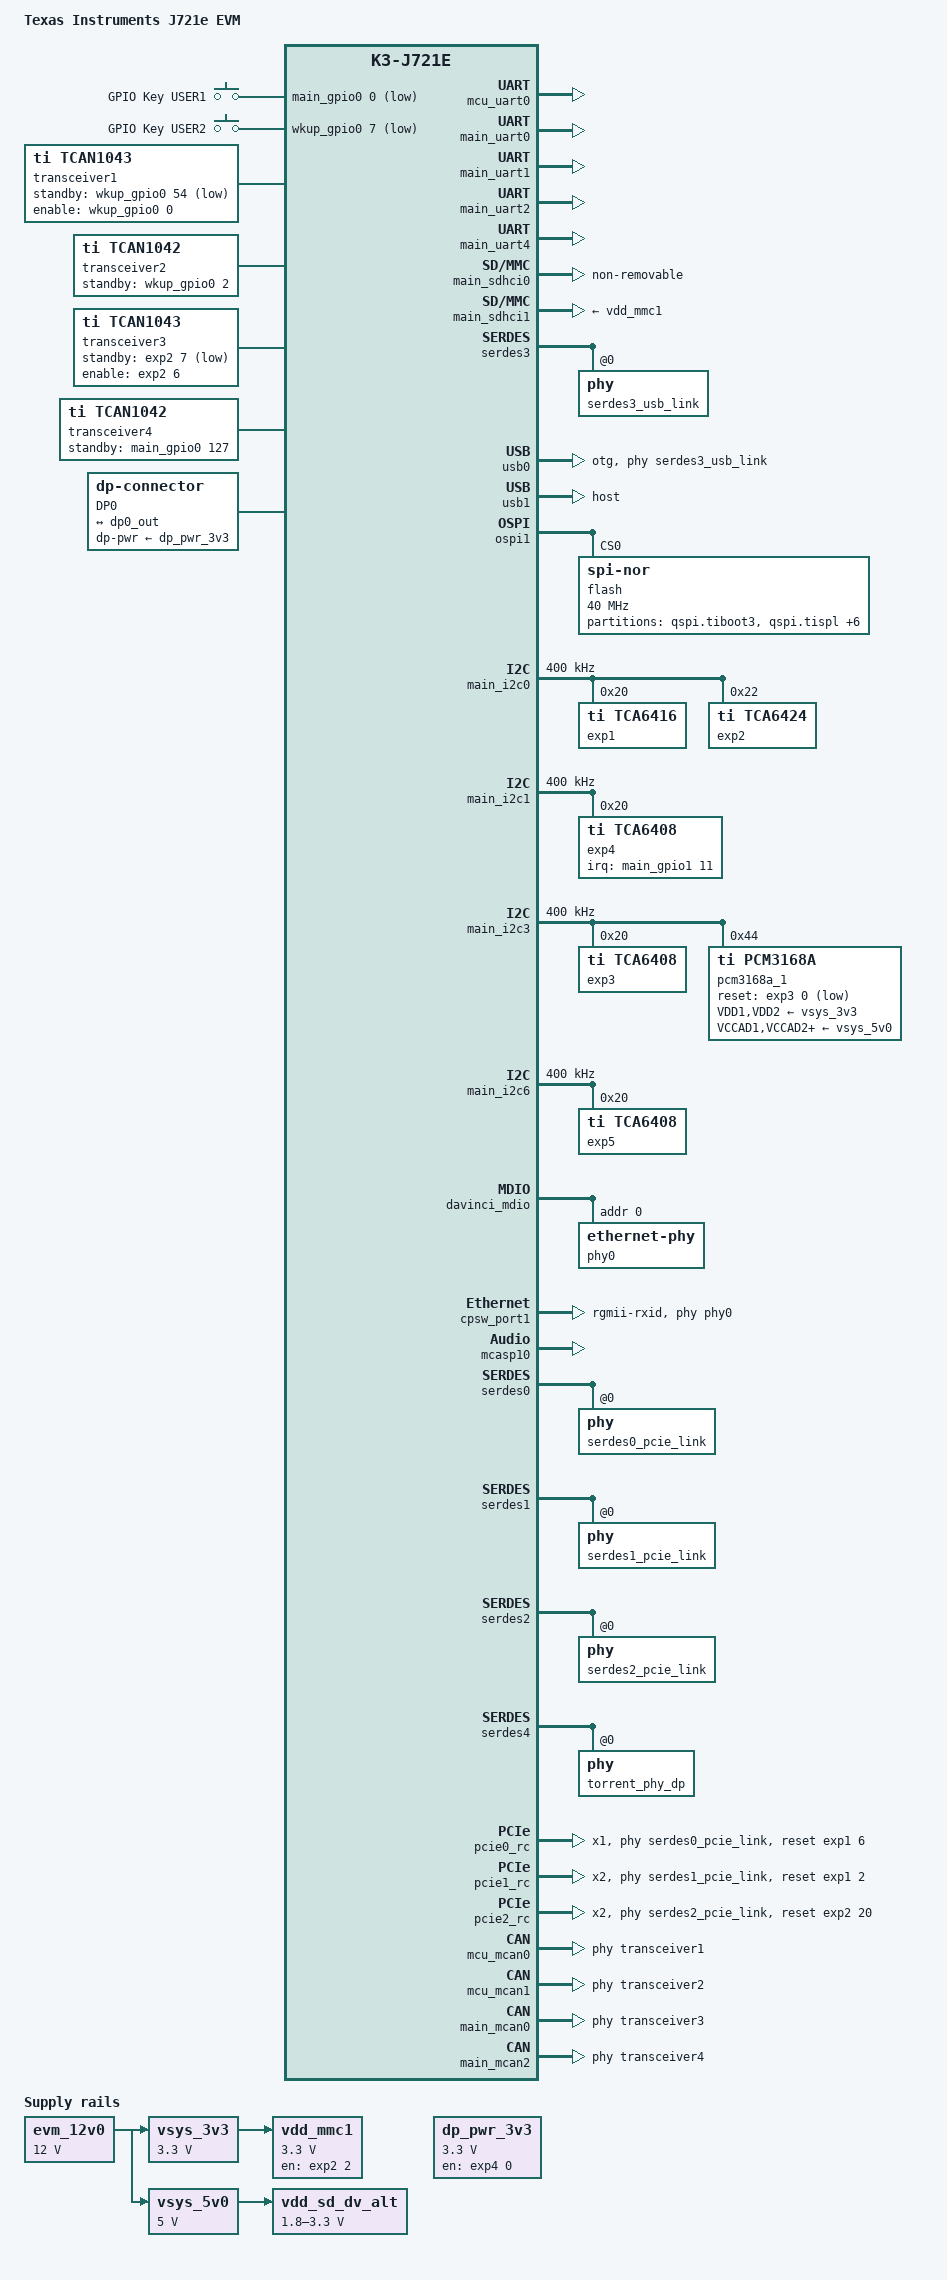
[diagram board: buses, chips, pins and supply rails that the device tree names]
// SPDX-License-Identifier: GPL-2.0
/*
 * Copyright (C) 2019 Texas Instruments Incorporated - https://www.ti.com/
 *
 * Product Link: https://www.ti.com/tool/J721EXCPXEVM
 */

/dts-v1/;

#include "k3-j721e-som-p0.dtsi"
#include <dt-bindings/gpio/gpio.h>
#include <dt-bindings/input/input.h>
#include <dt-bindings/net/ti-dp83867.h>
#include <dt-bindings/phy/phy-cadence.h>

/ {
	compatible = "ti,j721e-evm", "ti,j721e";
	model = "Texas Instruments J721e EVM";

	aliases {
		serial0 = &wkup_uart0;
		serial1 = &mcu_uart0;
		serial2 = &main_uart0;
		serial3 = &main_uart1;
		serial4 = &main_uart2;
		serial6 = &main_uart4;
		ethernet0 = &cpsw_port1;
		mmc0 = &main_sdhci0;
		mmc1 = &main_sdhci1;
	};

	chosen {
		stdout-path = "serial2:115200n8";
	};

	gpio_keys: gpio-keys {
		compatible = "gpio-keys";
		autorepeat;
		pinctrl-names = "default";
		pinctrl-0 = <&sw10_button_pins_default>, <&sw11_button_pins_default>;

		sw10: switch-10 {
			label = "GPIO Key USER1";
			linux,code = <BTN_0>;
			gpios = <&main_gpio0 0 GPIO_ACTIVE_LOW>;
		};

		sw11: switch-11 {
			label = "GPIO Key USER2";
			linux,code = <BTN_1>;
			gpios = <&wkup_gpio0 7 GPIO_ACTIVE_LOW>;
		};
	};

	evm_12v0: fixedregulator-evm12v0 {
		/* main supply */
		compatible = "regulator-fixed";
		regulator-name = "evm_12v0";
		regulator-min-microvolt = <12000000>;
		regulator-max-microvolt = <12000000>;
		regulator-always-on;
		regulator-boot-on;
	};

	vsys_3v3: fixedregulator-vsys3v3 {
		/* Output of LMS140 */
		compatible = "regulator-fixed";
		regulator-name = "vsys_3v3";
		regulator-min-microvolt = <3300000>;
		regulator-max-microvolt = <3300000>;
		vin-supply = <&evm_12v0>;
		regulator-always-on;
		regulator-boot-on;
	};

	vsys_5v0: fixedregulator-vsys5v0 {
		/* Output of LM5140 */
		compatible = "regulator-fixed";
		regulator-name = "vsys_5v0";
		regulator-min-microvolt = <5000000>;
		regulator-max-microvolt = <5000000>;
		vin-supply = <&evm_12v0>;
		regulator-always-on;
		regulator-boot-on;
	};

	vdd_mmc1: fixedregulator-sd {
		compatible = "regulator-fixed";
		regulator-name = "vdd_mmc1";
		regulator-min-microvolt = <3300000>;
		regulator-max-microvolt = <3300000>;
		regulator-boot-on;
		enable-active-high;
		vin-supply = <&vsys_3v3>;
		gpio = <&exp2 2 GPIO_ACTIVE_HIGH>;
	};

	vdd_sd_dv_alt: gpio-regulator-TLV71033 {
		compatible = "regulator-gpio";
		pinctrl-names = "default";
		pinctrl-0 = <&vdd_sd_dv_alt_pins_default>;
		regulator-name = "tlv71033";
		regulator-min-microvolt = <1800000>;
		regulator-max-microvolt = <3300000>;
		regulator-boot-on;
		vin-supply = <&vsys_5v0>;
		gpios = <&main_gpio0 117 GPIO_ACTIVE_HIGH>;
		states = <1800000 0x0>,
			 <3300000 0x1>;
	};

	sound0: sound-0 {
		compatible = "ti,j721e-cpb-audio";
		model = "j721e-cpb";

		ti,cpb-mcasp = <&mcasp10>;
		ti,cpb-codec = <&pcm3168a_1>;

		clocks = <&k3_clks 184 1>,
			 <&k3_clks 184 2>, <&k3_clks 184 4>,
			 <&k3_clks 157 371>,
			 <&k3_clks 157 400>, <&k3_clks 157 401>;
		clock-names = "cpb-mcasp-auxclk",
			      "cpb-mcasp-auxclk-48000", "cpb-mcasp-auxclk-44100",
			      "cpb-codec-scki",
			      "cpb-codec-scki-48000", "cpb-codec-scki-44100";
	};

	transceiver1: can-phy0 {
		compatible = "ti,tcan1043";
		#phy-cells = <0>;
		max-bitrate = <5000000>;
		pinctrl-names = "default";
		pinctrl-0 = <&mcu_mcan0_gpio_pins_default>;
		standby-gpios = <&wkup_gpio0 54 GPIO_ACTIVE_LOW>;
		enable-gpios = <&wkup_gpio0 0 GPIO_ACTIVE_HIGH>;
	};

	transceiver2: can-phy1 {
		compatible = "ti,tcan1042";
		#phy-cells = <0>;
		max-bitrate = <5000000>;
		pinctrl-names = "default";
		pinctrl-0 = <&mcu_mcan1_gpio_pins_default>;
		standby-gpios = <&wkup_gpio0 2 GPIO_ACTIVE_HIGH>;
	};

	transceiver3: can-phy2 {
		compatible = "ti,tcan1043";
		#phy-cells = <0>;
		max-bitrate = <5000000>;
		standby-gpios = <&exp2 7 GPIO_ACTIVE_LOW>;
		enable-gpios = <&exp2 6 GPIO_ACTIVE_HIGH>;
	};

	transceiver4: can-phy3 {
		compatible = "ti,tcan1042";
		#phy-cells = <0>;
		max-bitrate = <5000000>;
		pinctrl-names = "default";
		pinctrl-0 = <&main_mcan2_gpio_pins_default>;
		standby-gpios = <&main_gpio0 127 GPIO_ACTIVE_HIGH>;
	};

	dp_pwr_3v3: regulator-dp-pwr {
		compatible = "regulator-fixed";
		regulator-name = "dp-pwr";
		regulator-min-microvolt = <3300000>;
		regulator-max-microvolt = <3300000>;
		gpio = <&exp4 0 GPIO_ACTIVE_HIGH>; /* P0 - DP0_PWR_SW_EN */
		enable-active-high;
	};

	dp0: connector {
		compatible = "dp-connector";
		label = "DP0";
		type = "full-size";
		dp-pwr-supply = <&dp_pwr_3v3>;

		port {
			dp_connector_in: endpoint {
				remote-endpoint = <&dp0_out>;
			};
		};
	};
};

&main_pmx0 {
	main_uart0_pins_default: main-uart0-default-pins {
		pinctrl-single,pins = <
			J721E_IOPAD(0x1d4, PIN_INPUT, 1) /* (Y3) SPI1_CS0.UART0_CTSn */
			J721E_IOPAD(0x1c0, PIN_OUTPUT, 1) /* (AA2) SPI0_CS0.UART0_RTSn */
			J721E_IOPAD(0x1e8, PIN_INPUT, 0) /* (AB2) UART0_RXD */
			J721E_IOPAD(0x1ec, PIN_OUTPUT, 0) /* (AB3) UART0_TXD */
		>;
	};

	main_uart1_pins_default: main-uart1-default-pins {
		pinctrl-single,pins = <
			J721E_IOPAD(0x1f8, PIN_INPUT, 0) /* (AA4) UART1_RXD */
			J721E_IOPAD(0x1fc, PIN_OUTPUT, 0) /* (AB4) UART1_TXD */
		>;
	};

	main_uart2_pins_default: main-uart2-default-pins {
		pinctrl-single,pins = <
			J721E_IOPAD(0x1dc, PIN_INPUT, 3) /* (Y1) SPI1_CLK.UART2_RXD */
			J721E_IOPAD(0x1e0, PIN_OUTPUT, 3) /* (Y5) SPI1_D0.UART2_TXD */
		>;
	};

	main_uart4_pins_default: main-uart4-default-pins {
		pinctrl-single,pins = <
			J721E_IOPAD(0x190, PIN_INPUT, 1) /* (W23) RGMII6_TD3.UART4_RXD */
			J721E_IOPAD(0x194, PIN_OUTPUT, 1) /* (W28) RGMII6_TD2.UART4_TXD */
		>;
	};

	sw10_button_pins_default: sw10-button-default-pins {
		pinctrl-single,pins = <
			J721E_IOPAD(0x0, PIN_INPUT, 7) /* (AC18) EXTINTn.GPIO0_0 */
		>;
	};

	main_mmc1_pins_default: main-mmc1-default-pins {
		pinctrl-single,pins = <
			J721E_IOPAD(0x254, PIN_INPUT, 0) /* (R29) MMC1_CMD */
			J721E_IOPAD(0x250, PIN_INPUT, 0) /* (P25) MMC1_CLK */
			J721E_IOPAD(0x2ac, PIN_INPUT, 0) /* (P25) MMC1_CLKLB */
			J721E_IOPAD(0x24c, PIN_INPUT, 0) /* (R24) MMC1_DAT0 */
			J721E_IOPAD(0x248, PIN_INPUT, 0) /* (P24) MMC1_DAT1 */
			J721E_IOPAD(0x244, PIN_INPUT, 0) /* (R25) MMC1_DAT2 */
			J721E_IOPAD(0x240, PIN_INPUT, 0) /* (R26) MMC1_DAT3 */
			J721E_IOPAD(0x258, PIN_INPUT, 0) /* (P23) MMC1_SDCD */
			J721E_IOPAD(0x25c, PIN_INPUT, 0) /* (R28) MMC1_SDWP */
		>;
	};

	vdd_sd_dv_alt_pins_default: vdd-sd-dv-alt-default-pins {
		pinctrl-single,pins = <
			J721E_IOPAD(0x1d8, PIN_INPUT, 7) /* (W4) SPI1_CS1.GPIO0_117 */
		>;
	};

	main_usbss0_pins_default: main-usbss0-default-pins {
		pinctrl-single,pins = <
			J721E_IOPAD(0x290, PIN_OUTPUT, 0) /* (U6) USB0_DRVVBUS */
			J721E_IOPAD(0x210, PIN_INPUT, 7) /* (W3) MCAN1_RX.GPIO1_3 */
		>;
	};

	main_usbss1_pins_default: main-usbss1-default-pins {
		pinctrl-single,pins = <
			J721E_IOPAD(0x214, PIN_OUTPUT, 4) /* (V4) MCAN1_TX.USB1_DRVVBUS */
		>;
	};

	dp0_pins_default: dp0-default-pins {
		pinctrl-single,pins = <
			J721E_IOPAD(0x1c4, PIN_INPUT, 5) /* SPI0_CS1.DP0_HPD */
		>;
	};

	main_i2c1_exp4_pins_default: main-i2c1-exp4-default-pins {
		pinctrl-single,pins = <
			J721E_IOPAD(0x230, PIN_INPUT, 7) /* (U2) ECAP0_IN_APWM_OUT.GPIO1_11 */
		>;
	};

	main_i2c0_pins_default: main-i2c0-default-pins {
		pinctrl-single,pins = <
			J721E_IOPAD(0x220, PIN_INPUT_PULLUP, 0) /* (AC5) I2C0_SCL */
			J721E_IOPAD(0x224, PIN_INPUT_PULLUP, 0) /* (AA5) I2C0_SDA */
		>;
	};

	main_i2c1_pins_default: main-i2c1-default-pins {
		pinctrl-single,pins = <
			J721E_IOPAD(0x228, PIN_INPUT_PULLUP, 0) /* (Y6) I2C1_SCL */
			J721E_IOPAD(0x22c, PIN_INPUT_PULLUP, 0) /* (AA6) I2C1_SDA */
		>;
	};

	main_i2c3_pins_default: main-i2c3-default-pins {
		pinctrl-single,pins = <
			J721E_IOPAD(0x270, PIN_INPUT_PULLUP, 4) /* (T26) MMC2_CLK.I2C3_SCL */
			J721E_IOPAD(0x274, PIN_INPUT_PULLUP, 4) /* (T25) MMC2_CMD.I2C3_SDA */
		>;
	};

	main_i2c6_pins_default: main-i2c6-default-pins {
		pinctrl-single,pins = <
			J721E_IOPAD(0x1d0, PIN_INPUT_PULLUP, 2) /* (AA3) SPI0_D1.I2C6_SCL */
			J721E_IOPAD(0x1e4, PIN_INPUT_PULLUP, 2) /* (Y2) SPI1_D1.I2C6_SDA */
		>;
	};

	mcasp10_pins_default: mcasp10-default-pins {
		pinctrl-single,pins = <
			J721E_IOPAD(0x158, PIN_OUTPUT_PULLDOWN, 12) /* (U23) RGMII5_TX_CTL.MCASP10_ACLKX */
			J721E_IOPAD(0x15c, PIN_OUTPUT_PULLDOWN, 12) /* (U26) RGMII5_RX_CTL.MCASP10_AFSX */
			J721E_IOPAD(0x160, PIN_OUTPUT_PULLDOWN, 12) /* (V28) RGMII5_TD3.MCASP10_AXR0 */
			J721E_IOPAD(0x164, PIN_OUTPUT_PULLDOWN, 12) /* (V29) RGMII5_TD2.MCASP10_AXR1 */
			J721E_IOPAD(0x170, PIN_OUTPUT_PULLDOWN, 12) /* (U29) RGMII5_TXC.MCASP10_AXR2 */
			J721E_IOPAD(0x174, PIN_OUTPUT_PULLDOWN, 12) /* (U25) RGMII5_RXC.MCASP10_AXR3 */
			J721E_IOPAD(0x198, PIN_INPUT_PULLDOWN, 12) /* (V25) RGMII6_TD1.MCASP10_AXR4 */
			J721E_IOPAD(0x19c, PIN_INPUT_PULLDOWN, 12) /* (W27) RGMII6_TD0.MCASP10_AXR5 */
			J721E_IOPAD(0x1a0, PIN_INPUT_PULLDOWN, 12) /* (W29) RGMII6_TXC.MCASP10_AXR6 */
		>;
	};

	audi_ext_refclk2_pins_default: audi-ext-refclk2-default-pins {
		pinctrl-single,pins = <
			J721E_IOPAD(0x1a4, PIN_OUTPUT, 3) /* (W26) RGMII6_RXC.AUDIO_EXT_REFCLK2 */
		>;
	};

	main_mcan0_pins_default: main-mcan0-default-pins {
		pinctrl-single,pins = <
			J721E_IOPAD(0x208, PIN_INPUT, 0) /* (W5) MCAN0_RX */
			J721E_IOPAD(0x20c, PIN_OUTPUT, 0) /* (W6) MCAN0_TX */
		>;
	};

	main_mcan2_pins_default: main-mcan2-default-pins {
		pinctrl-single,pins = <
			J721E_IOPAD(0x01f0, PIN_INPUT, 3) /* (AC2) MCAN2_RX.GPIO0_123 */
			J721E_IOPAD(0x01f4, PIN_OUTPUT, 3) /* (AB1) MCAN2_TX.GPIO0_124 */
		>;
	};

	main_mcan2_gpio_pins_default: main-mcan2-gpio-default-pins {
		pinctrl-single,pins = <
			J721E_IOPAD(0x200, PIN_INPUT, 7) /* (AC4) UART1_CTSn.GPIO0_127 */
		>;
	};
};

&wkup_pmx0 {
	wkup_uart0_pins_default: wkup-uart0-default-pins {
		pinctrl-single,pins = <
			J721E_WKUP_IOPAD(0xa0, PIN_INPUT, 0) /* (J29) WKUP_UART0_RXD */
			J721E_WKUP_IOPAD(0xa4, PIN_OUTPUT, 0) /* (J28) WKUP_UART0_TXD */
		>;
	};

	mcu_uart0_pins_default: mcu-uart0-default-pins {
		pinctrl-single,pins = <
			J721E_WKUP_IOPAD(0xe8, PIN_INPUT, 0) /* (H29) WKUP_GPIO0_14.MCU_UART0_CTSn */
			J721E_WKUP_IOPAD(0xec, PIN_OUTPUT, 0) /* (J27) WKUP_GPIO0_15.MCU_UART0_RTSn */
			J721E_WKUP_IOPAD(0xe4, PIN_INPUT, 0) /* (H28) WKUP_GPIO0_13.MCU_UART0_RXD */
			J721E_WKUP_IOPAD(0xe0, PIN_OUTPUT, 0) /* (G29) WKUP_GPIO0_12.MCU_UART0_TXD */
		>;
	};

	sw11_button_pins_default: sw11-button-default-pins {
		pinctrl-single,pins = <
			J721E_WKUP_IOPAD(0xcc, PIN_INPUT, 7) /* (G28) WKUP_GPIO0_7 */
		>;
	};

	mcu_fss0_ospi1_pins_default: mcu-fss0-ospi1-default-pins {
		pinctrl-single,pins = <
			J721E_WKUP_IOPAD(0x34, PIN_OUTPUT, 0) /* (F22) MCU_OSPI1_CLK */
			J721E_WKUP_IOPAD(0x50, PIN_OUTPUT, 0) /* (C22) MCU_OSPI1_CSn0 */
			J721E_WKUP_IOPAD(0x40, PIN_INPUT, 0) /* (D22) MCU_OSPI1_D0 */
			J721E_WKUP_IOPAD(0x44, PIN_INPUT, 0) /* (G22) MCU_OSPI1_D1 */
			J721E_WKUP_IOPAD(0x48, PIN_INPUT, 0) /* (D23) MCU_OSPI1_D2 */
			J721E_WKUP_IOPAD(0x4c, PIN_INPUT, 0) /* (C23) MCU_OSPI1_D3 */
			J721E_WKUP_IOPAD(0x3c, PIN_INPUT, 0) /* (B23) MCU_OSPI1_DQS */
			J721E_WKUP_IOPAD(0x38, PIN_INPUT, 0) /* (A23) MCU_OSPI1_LBCLKO */
		>;
	};

	mcu_cpsw_pins_default: mcu-cpsw-default-pins {
		pinctrl-single,pins = <
			J721E_WKUP_IOPAD(0x0058, PIN_OUTPUT, 0) /* MCU_RGMII1_TX_CTL */
			J721E_WKUP_IOPAD(0x005c, PIN_INPUT, 0) /* MCU_RGMII1_RX_CTL */
			J721E_WKUP_IOPAD(0x0060, PIN_OUTPUT, 0) /* MCU_RGMII1_TD3 */
			J721E_WKUP_IOPAD(0x0064, PIN_OUTPUT, 0) /* MCU_RGMII1_TD2 */
			J721E_WKUP_IOPAD(0x0068, PIN_OUTPUT, 0) /* MCU_RGMII1_TD1 */
			J721E_WKUP_IOPAD(0x006c, PIN_OUTPUT, 0) /* MCU_RGMII1_TD0 */
			J721E_WKUP_IOPAD(0x0078, PIN_INPUT, 0) /* MCU_RGMII1_RD3 */
			J721E_WKUP_IOPAD(0x007c, PIN_INPUT, 0) /* MCU_RGMII1_RD2 */
			J721E_WKUP_IOPAD(0x0080, PIN_INPUT, 0) /* MCU_RGMII1_RD1 */
			J721E_WKUP_IOPAD(0x0084, PIN_INPUT, 0) /* MCU_RGMII1_RD0 */
			J721E_WKUP_IOPAD(0x0070, PIN_OUTPUT, 0) /* MCU_RGMII1_TXC */
			J721E_WKUP_IOPAD(0x0074, PIN_INPUT, 0) /* MCU_RGMII1_RXC */
		>;
	};

	mcu_mdio_pins_default: mcu-mdio1-default-pins {
		pinctrl-single,pins = <
			J721E_WKUP_IOPAD(0x008c, PIN_OUTPUT, 0) /* MCU_MDIO0_MDC */
			J721E_WKUP_IOPAD(0x0088, PIN_INPUT, 0) /* MCU_MDIO0_MDIO */
		>;
	};

	mcu_mcan0_pins_default: mcu-mcan0-default-pins {
		pinctrl-single,pins = <
			J721E_WKUP_IOPAD(0xac, PIN_INPUT, 0) /* (C29) MCU_MCAN0_RX */
			J721E_WKUP_IOPAD(0xa8, PIN_OUTPUT, 0) /* (D29) MCU_MCAN0_TX */
		>;
	};

	mcu_mcan0_gpio_pins_default: mcu-mcan0-gpio-default-pins {
		pinctrl-single,pins = <
			J721E_WKUP_IOPAD(0xb0, PIN_INPUT, 7) /* (F26) WKUP_GPIO0_0 */
			J721E_WKUP_IOPAD(0x98, PIN_INPUT, 7) /* (E28) MCU_SPI0_D1.WKUP_GPIO0_54 */
		>;
	};

	mcu_mcan1_pins_default: mcu-mcan1-default-pins {
		pinctrl-single,pins = <
			J721E_WKUP_IOPAD(0xc4, PIN_INPUT, 0) /* (G24) WKUP_GPIO0_5.MCU_MCAN1_RX */
			J721E_WKUP_IOPAD(0xc0, PIN_OUTPUT, 0) /* (G25) WKUP_GPIO0_4.MCU_MCAN1_TX */
		>;
	};

	mcu_mcan1_gpio_pins_default: mcu-mcan1-gpio-default-pins {
		pinctrl-single,pins = <
			J721E_WKUP_IOPAD(0xb8, PIN_INPUT, 7) /* (F28) WKUP_GPIO0_2 */
		>;
	};

	wkup_gpio_pins_default: wkup-gpio-default-pins {
		pinctrl-single,pins = <
			J721E_WKUP_IOPAD(0xd0, PIN_INPUT, 7) /* (C14) WKUP_GPIO0_8 */
		>;
	};
};

&wkup_uart0 {
	/* Wakeup UART is used by System firmware */
	status = "reserved";
	pinctrl-names = "default";
	pinctrl-0 = <&wkup_uart0_pins_default>;
};

&mcu_uart0 {
	status = "okay";
	pinctrl-names = "default";
	pinctrl-0 = <&mcu_uart0_pins_default>;
};

&main_uart0 {
	status = "okay";
	pinctrl-names = "default";
	pinctrl-0 = <&main_uart0_pins_default>;
	/* Shared with ATF on this platform */
	power-domains = <&k3_pds 146 TI_SCI_PD_SHARED>;
};

&main_uart1 {
	status = "okay";
	pinctrl-names = "default";
	pinctrl-0 = <&main_uart1_pins_default>;
};

&main_uart2 {
	status = "okay";
	pinctrl-names = "default";
	pinctrl-0 = <&main_uart2_pins_default>;
};

&main_uart4 {
	status = "okay";
	pinctrl-names = "default";
	pinctrl-0 = <&main_uart4_pins_default>;
};

&main_gpio2 {
	status = "disabled";
};

&main_gpio3 {
	status = "disabled";
};

&main_gpio4 {
	status = "disabled";
};

&main_gpio5 {
	status = "disabled";
};

&main_gpio6 {
	status = "disabled";
};

&main_gpio7 {
	status = "disabled";
};

&wkup_gpio0 {
	pinctrl-names = "default";
	pinctrl-0 = <&wkup_gpio_pins_default>;
};

&wkup_gpio1 {
	status = "disabled";
};

&main_sdhci0 {
	/* eMMC */
	non-removable;
	ti,driver-strength-ohm = <50>;
	disable-wp;
};

&main_sdhci1 {
	/* SD/MMC */
	vmmc-supply = <&vdd_mmc1>;
	vqmmc-supply = <&vdd_sd_dv_alt>;
	pinctrl-names = "default";
	pinctrl-0 = <&main_mmc1_pins_default>;
	ti,driver-strength-ohm = <50>;
	disable-wp;
};

&main_sdhci2 {
	/* Unused */
	status = "disabled";
};

&usb_serdes_mux {
	idle-states = <1>, <0>; /* USB0 to SERDES3, USB1 to SERDES1 */
};

&serdes_ln_ctrl {
	idle-states = <J721E_SERDES0_LANE0_PCIE0_LANE0>, <J721E_SERDES0_LANE1_PCIE0_LANE1>,
		      <J721E_SERDES1_LANE0_PCIE1_LANE0>, <J721E_SERDES1_LANE1_PCIE1_LANE1>,
		      <J721E_SERDES2_LANE0_PCIE2_LANE0>, <J721E_SERDES2_LANE1_PCIE2_LANE1>,
		      <J721E_SERDES3_LANE0_USB3_0_SWAP>, <J721E_SERDES3_LANE1_USB3_0>,
		      <J721E_SERDES4_LANE0_EDP_LANE0>, <J721E_SERDES4_LANE1_EDP_LANE1>,
		      <J721E_SERDES4_LANE2_EDP_LANE2>, <J721E_SERDES4_LANE3_EDP_LANE3>;
};

&serdes_wiz3 {
	typec-dir-gpios = <&main_gpio1 3 GPIO_ACTIVE_HIGH>;
	typec-dir-debounce-ms = <700>;	/* TUSB321, tCCB_DEFAULT 133 ms */
};

&serdes3 {
	serdes3_usb_link: phy@0 {
		reg = <0>;
		cdns,num-lanes = <2>;
		#phy-cells = <0>;
		cdns,phy-type = <PHY_TYPE_USB3>;
		resets = <&serdes_wiz3 1>, <&serdes_wiz3 2>;
	};
};

&usbss0 {
	pinctrl-names = "default";
	pinctrl-0 = <&main_usbss0_pins_default>;
	ti,vbus-divider;
};

&usb0 {
	dr_mode = "otg";
	maximum-speed = "super-speed";
	phys = <&serdes3_usb_link>;
	phy-names = "cdns3,usb3-phy";
};

&usbss1 {
	pinctrl-names = "default";
	pinctrl-0 = <&main_usbss1_pins_default>;
	ti,usb2-only;
};

&usb1 {
	dr_mode = "host";
	maximum-speed = "high-speed";
};

&ospi1 {
	pinctrl-names = "default";
	pinctrl-0 = <&mcu_fss0_ospi1_pins_default>;

	flash@0 {
		compatible = "jedec,spi-nor";
		reg = <0x0>;
		spi-tx-bus-width = <1>;
		spi-rx-bus-width = <4>;
		spi-max-frequency = <40000000>;
		cdns,tshsl-ns = <60>;
		cdns,tsd2d-ns = <60>;
		cdns,tchsh-ns = <60>;
		cdns,tslch-ns = <60>;
		cdns,read-delay = <2>;

		partitions {
			compatible = "fixed-partitions";
			#address-cells = <1>;
			#size-cells = <1>;

			partition@0 {
				label = "qspi.tiboot3";
				reg = <0x0 0x80000>;
			};

			partition@80000 {
				label = "qspi.tispl";
				reg = <0x80000 0x200000>;
			};

			partition@280000 {
				label = "qspi.u-boot";
				reg = <0x280000 0x400000>;
			};

			partition@680000 {
				label = "qspi.env";
				reg = <0x680000 0x20000>;
			};

			partition@6a0000 {
				label = "qspi.env.backup";
				reg = <0x6a0000 0x20000>;
			};

			partition@6c0000 {
				label = "qspi.sysfw";
				reg = <0x6c0000 0x100000>;
			};

			partition@800000 {
				label = "qspi.rootfs";
				reg = <0x800000 0x37c0000>;
			};

			partition@3fe0000 {
				label = "qspi.phypattern";
				reg = <0x3fe0000 0x20000>;
			};
		};
	};
};

&tscadc0 {
	adc {
		ti,adc-channels = <0 1 2 3 4 5 6 7>;
	};
};

&tscadc1 {
	adc {
		ti,adc-channels = <0 1 2 3 4 5 6 7>;
	};
};

&main_i2c0 {
	status = "okay";
	pinctrl-names = "default";
	pinctrl-0 = <&main_i2c0_pins_default>;
	clock-frequency = <400000>;

	exp1: gpio@20 {
		compatible = "ti,tca6416";
		reg = <0x20>;
		gpio-controller;
		#gpio-cells = <2>;
	};

	exp2: gpio@22 {
		compatible = "ti,tca6424";
		reg = <0x22>;
		gpio-controller;
		#gpio-cells = <2>;

		p09-hog {
			/* P11 - MCASP/TRACE_MUX_S0 */
			gpio-hog;
			gpios = <9 GPIO_ACTIVE_HIGH>;
			output-low;
			line-name = "MCASP/TRACE_MUX_S0";
		};

		p10-hog {
			/* P12 - MCASP/TRACE_MUX_S1 */
			gpio-hog;
			gpios = <10 GPIO_ACTIVE_HIGH>;
			output-high;
			line-name = "MCASP/TRACE_MUX_S1";
		};
	};
};

&main_i2c1 {
	status = "okay";
	pinctrl-names = "default";
	pinctrl-0 = <&main_i2c1_pins_default>;
	clock-frequency = <400000>;

	exp4: gpio@20 {
		compatible = "ti,tca6408";
		reg = <0x20>;
		gpio-controller;
		#gpio-cells = <2>;
		pinctrl-names = "default";
		pinctrl-0 = <&main_i2c1_exp4_pins_default>;
		interrupt-parent = <&main_gpio1>;
		interrupts = <11 IRQ_TYPE_EDGE_FALLING>;
		interrupt-controller;
		#interrupt-cells = <2>;
	};
};

&k3_clks {
	/* Confiure AUDIO_EXT_REFCLK2 pin as output */
	pinctrl-names = "default";
	pinctrl-0 = <&audi_ext_refclk2_pins_default>;
};

&main_i2c3 {
	status = "okay";
	pinctrl-names = "default";
	pinctrl-0 = <&main_i2c3_pins_default>;
	clock-frequency = <400000>;

	exp3: gpio@20 {
		compatible = "ti,tca6408";
		reg = <0x20>;
		gpio-controller;
		#gpio-cells = <2>;
	};

	pcm3168a_1: audio-codec@44 {
		compatible = "ti,pcm3168a";
		reg = <0x44>;

		#sound-dai-cells = <1>;

		reset-gpios = <&exp3 0 GPIO_ACTIVE_LOW>;

		/* C_AUDIO_REFCLK2 -> RGMII6_RXC (W26) */
		clocks = <&k3_clks 157 371>;
		clock-names = "scki";

		/* HSDIV3_16FFT_MAIN_4_HSDIVOUT2_CLK -> REFCLK2 */
		assigned-clocks = <&k3_clks 157 371>;
		assigned-clock-parents = <&k3_clks 157 400>;
		assigned-clock-rates = <24576000>; /* for 48KHz */

		VDD1-supply = <&vsys_3v3>;
		VDD2-supply = <&vsys_3v3>;
		VCCAD1-supply = <&vsys_5v0>;
		VCCAD2-supply = <&vsys_5v0>;
		VCCDA1-supply = <&vsys_5v0>;
		VCCDA2-supply = <&vsys_5v0>;
	};
};

&main_i2c6 {
	status = "okay";
	pinctrl-names = "default";
	pinctrl-0 = <&main_i2c6_pins_default>;
	clock-frequency = <400000>;

	exp5: gpio@20 {
		compatible = "ti,tca6408";
		reg = <0x20>;
		gpio-controller;
		#gpio-cells = <2>;
	};
};

&mcu_cpsw {
	pinctrl-names = "default";
	pinctrl-0 = <&mcu_cpsw_pins_default>, <&mcu_mdio_pins_default>;
};

&davinci_mdio {
	phy0: ethernet-phy@0 {
		reg = <0>;
		ti,rx-internal-delay = <DP83867_RGMIIDCTL_2_00_NS>;
		ti,fifo-depth = <DP83867_PHYCR_FIFO_DEPTH_4_B_NIB>;
	};
};

&cpsw_port1 {
	phy-mode = "rgmii-rxid";
	phy-handle = <&phy0>;
};

&dss {
	/*
	 * These clock assignments are chosen to enable the following outputs:
	 *
	 * VP0 - DisplayPort SST
	 * VP1 - DPI0
	 * VP2 - DSI
	 * VP3 - DPI1
	 */

	assigned-clocks = <&k3_clks 152 1>,
			  <&k3_clks 152 4>,
			  <&k3_clks 152 9>,
			  <&k3_clks 152 13>;
	assigned-clock-parents = <&k3_clks 152 2>,	/* PLL16_HSDIV0 */
				 <&k3_clks 152 6>,	/* PLL19_HSDIV0 */
				 <&k3_clks 152 11>,	/* PLL18_HSDIV0 */
				 <&k3_clks 152 18>;	/* PLL23_HSDIV0 */
};

&dss_ports {
	port {
		dpi0_out: endpoint {
			remote-endpoint = <&dp0_in>;
		};
	};
};

&dp0_ports {
	#address-cells = <1>;
	#size-cells = <0>;

	port@0 {
		reg = <0>;
		dp0_in: endpoint {
			remote-endpoint = <&dpi0_out>;
		};
	};

	port@4 {
		reg = <4>;
		dp0_out: endpoint {
			remote-endpoint = <&dp_connector_in>;
		};
	};
};

&mcasp10 {
	status = "okay";
	#sound-dai-cells = <0>;

	pinctrl-names = "default";
	pinctrl-0 = <&mcasp10_pins_default>;

	op-mode = <0>;          /* MCASP_IIS_MODE */
	tdm-slots = <2>;
	auxclk-fs-ratio = <256>;

	serial-dir = <	/* 0: INACTIVE, 1: TX, 2: RX */
		1 1 1 1
		2 2 2 0
	>;
	tx-num-evt = <0>;
	rx-num-evt = <0>;
};

&cmn_refclk1 {
	clock-frequency = <100000000>;
};

&wiz0_pll1_refclk {
	assigned-clocks = <&wiz0_pll1_refclk>;
	assigned-clock-parents = <&cmn_refclk1>;
};

&wiz0_refclk_dig {
	assigned-clocks = <&wiz0_refclk_dig>;
	assigned-clock-parents = <&cmn_refclk1>;
};

&wiz1_pll1_refclk {
	assigned-clocks = <&wiz1_pll1_refclk>;
	assigned-clock-parents = <&cmn_refclk1>;
};

&wiz1_refclk_dig {
	assigned-clocks = <&wiz1_refclk_dig>;
	assigned-clock-parents = <&cmn_refclk1>;
};

&wiz2_pll1_refclk {
	assigned-clocks = <&wiz2_pll1_refclk>;
	assigned-clock-parents = <&cmn_refclk1>;
};

&wiz2_refclk_dig {
	assigned-clocks = <&wiz2_refclk_dig>;
	assigned-clock-parents = <&cmn_refclk1>;
};

&serdes0 {
	assigned-clocks = <&serdes0 CDNS_SIERRA_PLL_CMNLC>;
	assigned-clock-parents = <&wiz0_pll1_refclk>;

	serdes0_pcie_link: phy@0 {
		reg = <0>;
		cdns,num-lanes = <1>;
		#phy-cells = <0>;
		cdns,phy-type = <PHY_TYPE_PCIE>;
		resets = <&serdes_wiz0 1>;
	};
};

&serdes1 {
	assigned-clocks = <&serdes1 CDNS_SIERRA_PLL_CMNLC>;
	assigned-clock-parents = <&wiz1_pll1_refclk>;

	serdes1_pcie_link: phy@0 {
		reg = <0>;
		cdns,num-lanes = <2>;
		#phy-cells = <0>;
		cdns,phy-type = <PHY_TYPE_PCIE>;
		resets = <&serdes_wiz1 1>, <&serdes_wiz1 2>;
	};
};

&serdes2 {
	assigned-clocks = <&serdes2 CDNS_SIERRA_PLL_CMNLC>;
	assigned-clock-parents = <&wiz2_pll1_refclk>;

	serdes2_pcie_link: phy@0 {
		reg = <0>;
		cdns,num-lanes = <2>;
		#phy-cells = <0>;
		cdns,phy-type = <PHY_TYPE_PCIE>;
		resets = <&serdes_wiz2 1>, <&serdes_wiz2 2>;
	};
};

&serdes4 {
	torrent_phy_dp: phy@0 {
		reg = <0>;
		resets = <&serdes_wiz4 1>;
		cdns,phy-type = <PHY_TYPE_DP>;
		cdns,num-lanes = <4>;
		cdns,max-bit-rate = <5400>;
		#phy-cells = <0>;
	};
};

&mhdp {
	phys = <&torrent_phy_dp>;
	phy-names = "dpphy";
	pinctrl-names = "default";
	pinctrl-0 = <&dp0_pins_default>;
};

&pcie0_rc {
	status = "okay";
	reset-gpios = <&exp1 6 GPIO_ACTIVE_HIGH>;
	phys = <&serdes0_pcie_link>;
	phy-names = "pcie-phy";
	num-lanes = <1>;
};

&pcie1_rc {
	status = "okay";
	reset-gpios = <&exp1 2 GPIO_ACTIVE_HIGH>;
	phys = <&serdes1_pcie_link>;
	phy-names = "pcie-phy";
	num-lanes = <2>;
};

&pcie2_rc {
	status = "okay";
	reset-gpios = <&exp2 20 GPIO_ACTIVE_HIGH>;
	phys = <&serdes2_pcie_link>;
	phy-names = "pcie-phy";
	num-lanes = <2>;
};

&mcu_mcan0 {
	status = "okay";
	pinctrl-names = "default";
	pinctrl-0 = <&mcu_mcan0_pins_default>;
	phys = <&transceiver1>;
};

&mcu_mcan1 {
	status = "okay";
	pinctrl-names = "default";
	pinctrl-0 = <&mcu_mcan1_pins_default>;
	phys = <&transceiver2>;
};

&main_mcan0 {
	status = "okay";
	pinctrl-names = "default";
	pinctrl-0 = <&main_mcan0_pins_default>;
	phys = <&transceiver3>;
};

&main_mcan2 {
	status = "okay";
	pinctrl-names = "default";
	pinctrl-0 = <&main_mcan2_pins_default>;
	phys = <&transceiver4>;
};
